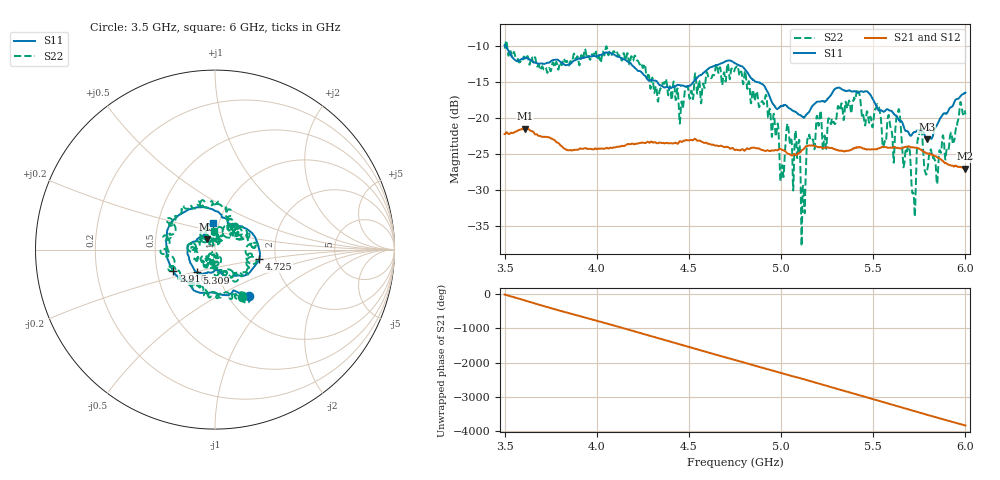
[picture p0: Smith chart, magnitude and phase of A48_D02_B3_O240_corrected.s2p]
! Created with skrf 1.9.0 (http://scikit-rf.org).
# Hz S RI R 50.0
!freq ReS11 ImS11 ReS21 ImS21 ReS12 ImS12 ReS22 ImS22
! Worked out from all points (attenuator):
!   1601 points, 3.5 GHz to 6 GHz, reference 50 ohm
!   highest |S21| = -21.44 dB at 3.611 GHz (marker M1); lowest = -27.0 dB at 5.998 GHz (marker M2)
!   lowest |S11| = -22.9 dB at 5.791 GHz (marker M3), VSWR 1.15, Z = 45.6 + j5.31 ohm
!   |S11| at or under -10 dB: 3.505 GHz to end of sweep
!   |S22| runs from -37.8 to -9.2 dB; largest |S21 - S12| = 0.00093
!   S11 on the Smith chart (normalised r, x): 3.5 GHz: 1.24, -0.72; 3.916 GHz: 0.61, -0.15; 4.725 GHz: 1.64, -0.18; 5.309 GHz: 0.79, -0.21; 6 GHz: 0.94, +0.29
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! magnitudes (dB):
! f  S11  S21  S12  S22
! 3.5 GHz  -9.8  -22.2  -22.2  -10.3
! 3.611 GHz  -11.5  -21.4  -21.5  -11.7
! 3.916 GHz  -11.7  -24.2  -24.2  -11.2
! 3.917 GHz  -11.7  -24.2  -24.2  -11.2
! 4.213 GHz  -13.1  -23.5  -23.5  -11.6
! 4.334 GHz  -15.2  -23.4  -23.3  -17.4
! 4.725 GHz  -12.0  -24.2  -24.1  -14.1
! 4.75 GHz  -12.3  -24.4  -24.3  -13.1
! 4.914 GHz  -15.7  -24.5  -24.5  -17.0
! 5.005 GHz  -18.2  -24.4  -24.4  -26.6
! 5.034 GHz  -18.4  -24.9  -24.8  -20.8
! 5.088 GHz  -19.3  -25.0  -25.0  -25.5
! 5.119 GHz  -19.8  -24.3  -24.3  -29.4
! 5.167 GHz  -18.4  -23.8  -23.7  -23.1
! 5.309 GHz  -15.7  -24.4  -24.4  -18.3
! 5.584 GHz  -18.8  -24.1  -24.0  -19.5
! 5.639 GHz  -20.2  -24.1  -24.1  -18.7
! 5.719 GHz  -21.9  -24.0  -24.0  -30.5
! 5.752 GHz  -21.7  -24.2  -24.2  -21.8
! 5.791 GHz  -22.9  -24.8  -24.8  -27.5
! 5.998 GHz  -16.5  -27.0  -26.9  -19.2
! 6 GHz  -16.4  -27.0  -26.9  -19.4
